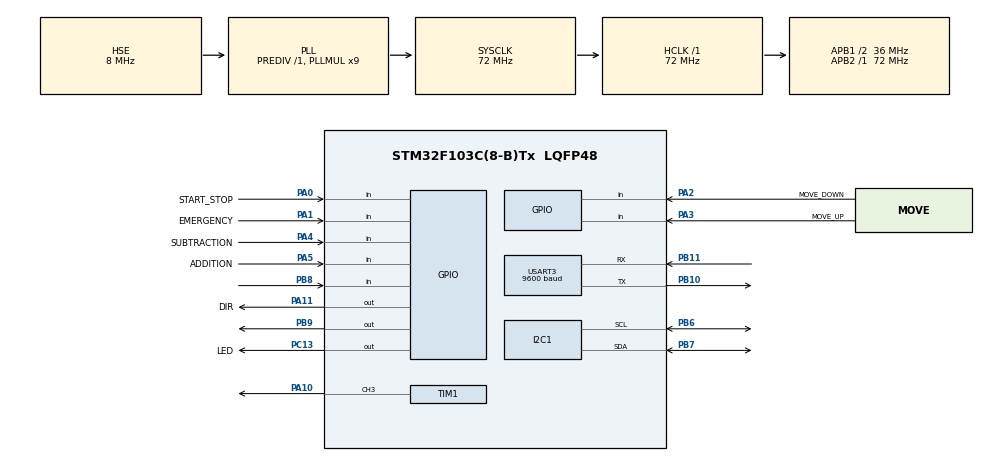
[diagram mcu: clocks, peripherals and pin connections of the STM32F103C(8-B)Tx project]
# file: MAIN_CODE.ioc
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I2C1.I2C_Mode=I2C_Fast
Mcu.Family=STM32F1
Mcu.Name=STM32F103C(8-B)Tx
Mcu.Package=LQFP48
NVIC.PriorityGroup=NVIC_PRIORITYGROUP_4
NVIC.TIM4_IRQn=true\:0\:0\:false\:false\:true\:true\:true\:true
PA0-WKUP.GPIO_Label=START_STOP
PA0-WKUP.GPIO_PuPd=GPIO_PULLUP
PA0-WKUP.Signal=GPIO_Input
PA1.GPIO_Label=EMERGENCY
PA1.GPIO_PuPd=GPIO_PULLUP
PA1.Signal=GPIO_Input
PA10.Signal=S_TIM1_CH3
PA11.GPIO_Label=DIR
PA11.GPIO_PuPd=GPIO_PULLUP
PA11.Signal=GPIO_Output
PA13.Mode=Serial_Wire
PA13.Signal=SYS_JTMS-SWDIO
PA14.Mode=Serial_Wire
PA14.Signal=SYS_JTCK-SWCLK
PA2.GPIO_Label=MOVE_DOWN
PA2.GPIO_PuPd=GPIO_PULLUP
PA2.Signal=GPIO_Input
PA3.GPIO_Label=MOVE_UP
PA3.GPIO_PuPd=GPIO_PULLUP
PA3.Signal=GPIO_Input
PA4.GPIO_Label=SUBTRACTION
PA4.GPIO_PuPd=GPIO_PULLUP
PA4.Signal=GPIO_Input
PA5.GPIO_Label=ADDITION
PA5.GPIO_PuPd=GPIO_PULLUP
PA5.Signal=GPIO_Input
PB10.Mode=Asynchronous
PB10.Signal=USART3_TX
PB11.Mode=Asynchronous
PB11.Signal=USART3_RX
PB6.Mode=I2C
PB6.Signal=I2C1_SCL
PB7.Mode=I2C
PB7.Signal=I2C1_SDA
PB8.GPIO_Mode=GPIO_MODE_INPUT
PB8.Signal=GPIO_Input
PB9.Signal=GPIO_Output
PC13-TAMPER-RTC.GPIO_Label=LED
PC13-TAMPER-RTC.GPIO_PuPd=GPIO_PULLDOWN
PC13-TAMPER-RTC.PinState=GPIO_PIN_SET
PC13-TAMPER-RTC.Signal=GPIO_Output
PD0-OSC_IN.Mode=HSE-External-Oscillator
PD0-OSC_IN.Signal=RCC_OSC_IN
PD1-OSC_OUT.Mode=HSE-External-Oscillator
PD1-OSC_OUT.Signal=RCC_OSC_OUT
ProjectManager.HeapSize=0x200
ProjectManager.StackSize=0x400
ProjectManager.TargetToolchain=STM32CubeIDE
RCC.AHBFreq_Value=72000000
RCC.APB1CLKDivider=RCC_HCLK_DIV2
RCC.APB1Freq_Value=36000000
RCC.APB1TimFreq_Value=72000000
RCC.APB2Freq_Value=72000000
RCC.APB2TimFreq_Value=72000000
RCC.HCLKFreq_Value=72000000
RCC.PLLMUL=RCC_PLL_MUL9
RCC.PLLSourceVirtual=RCC_PLLSOURCE_HSE
RCC.SYSCLKFreq_VALUE=72000000
RCC.SYSCLKSource=RCC_SYSCLKSOURCE_PLLCLK
RCC.USBFreq_Value=72000000
SH.S_TIM1_CH3.0=TIM1_CH3,PWM Generation3 CH3
TIM1.Channel-PWM\ Generation3\ CH3=TIM_CHANNEL_3
TIM1.Period=999
TIM1.Prescaler=71
TIM2.Prescaler=71
TIM4.AutoReloadPreload=TIM_AUTORELOAD_PRELOAD_ENABLE
TIM4.Period=399
TIM4.Prescaler=17999
USART3.BaudRate=9600
USART3.VirtualMode=VM_ASYNC
VP_TIM1_VS_ClockSourceINT.Mode=Internal
VP_TIM2_VS_ClockSourceINT.Mode=Internal
VP_TIM4_VS_ClockSourceINT.Mode=Internal
board=custom

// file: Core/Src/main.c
/* USER CODE BEGIN Header */
/**
  ******************************************************************************
  * @file           : main.c
  * @brief          : Main program body
  ******************************************************************************
  * @attention
  *
  * Copyright (c) 2024 STMicroelectronics.
  * All rights reserved.
  *
  * This software is licensed under terms that can be found in the LICENSE file
  * in the root directory of this software component.
  * If no LICENSE file comes with this software, it is provided AS-IS.
  *
  ******************************************************************************
  */
/* USER CODE END Header */
#include "main.h"

/* USER CODE BEGIN Includes */
#include "string.h"
#include "stdio.h" // For sprintf
#include "fonts.h"
#include "ssd1306.h"
/* USER CODE END Includes */

/* USER CODE BEGIN PD */
#define DT_PIN GPIO_PIN_8
#define DT_PORT GPIOB
#define SCK_PIN GPIO_PIN_9
#define SCK_PORT GPIOB
/* USER CODE END PD */

I2C_HandleTypeDef hi2c1;

TIM_HandleTypeDef htim1;
TIM_HandleTypeDef htim2;
TIM_HandleTypeDef htim4;

UART_HandleTypeDef huart3;

/* USER CODE BEGIN PV */
int i = 11; //points axit y in lcd oled

//state of the system
uint8_t counter = 0; //variable for system
uint8_t status = 0; //variable for start/stop
uint8_t limitswitch = 0; //variable for run mode

//set up variables
uint8_t set_mode = 1;
uint8_t set_times = 1;
uint8_t set_step = 1;
uint8_t set_lengh = 1;

//variable when system is run
uint8_t times = 0;
uint8_t lengh = 0;

//variables for loadcell
uint32_t tare = 8418394U; //error loadcell
float knownOriginal = 5830000U;  // (in milli gram) real weight 5830000
float knownHX711 = 859763U;
float knownOriginalForce = 4614;
int weight;
int offset = 0U;
int force = 0U;
/* USER CODE END PV */

void SystemClock_Config(void);
static void MX_GPIO_Init(void);
static void MX_I2C1_Init(void);
static void MX_TIM1_Init(void);
static void MX_TIM2_Init(void);
static void MX_TIM4_Init(void);
static void MX_USART3_UART_Init(void);

/* USER CODE BEGIN 0 */
void microDelay(uint16_t time)
{
	__HAL_TIM_SET_COUNTER(&htim2, 0);
	while (__HAL_TIM_GET_COUNTER(&htim2) < time);
}

void HAL_TIM_PeriodElapsedCallback(TIM_HandleTypeDef *htim)
{
  /* Prevent unused argument(s) compilation warning */
  UNUSED(htim);

  /* NOTE : This function should not be modified, when the callback is needed,
            the HAL_TIM_PeriodElapsedCallback could be implemented in the user file
   */
  if (HAL_GPIO_ReadPin(START_STOP_GPIO_Port, START_STOP_Pin) == 0) {
  	  if (HAL_GPIO_ReadPin(START_STOP_GPIO_Port, START_STOP_Pin) == 0){
  		  if (counter < 9){
  			  counter++;
  		  }
  		  else{
  			  status = 1;
  			  if (status == 1){
  				  SSD1306_GotoXY (56, 11);
  				  SSD1306_Puts ("START    ", &Font_7x10, 1);
  				  SSD1306_UpdateScreen();
  			  }
  		  }
  	  }
  	  while (HAL_GPIO_ReadPin(START_STOP_GPIO_Port, START_STOP_Pin) == 0){};
    }
    else if (HAL_GPIO_ReadPin(EMERGENCY_GPIO_Port, EMERGENCY_Pin) == 0) {
    	if (HAL_GPIO_ReadPin(EMERGENCY_GPIO_Port, EMERGENCY_Pin) == 0){
    		if (counter > 7) {
  	 			status = 2;
  	 			SSD1306_GotoXY (56, 11);
  	 			SSD1306_Puts ("E_STOP     ", &Font_7x10, 1);
  	 			SSD1306_UpdateScreen();
  	 		}
  	 	}
  	 	while (HAL_GPIO_ReadPin(EMERGENCY_GPIO_Port, EMERGENCY_Pin) == 0){};
    }
}

int32_t getHX711(void)
{
  uint32_t data = 0;
  uint32_t startTime = HAL_GetTick();
  while(HAL_GPIO_ReadPin(DT_PORT, DT_PIN) == GPIO_PIN_SET)
  {
    if(HAL_GetTick() - startTime > 200)
      return 0;
  }
  for(int8_t len=0; len<24 ; len++)
  {
    HAL_GPIO_WritePin(SCK_PORT, SCK_PIN, GPIO_PIN_SET);
    microDelay(1);
    data = data << 1;
    HAL_GPIO_WritePin(SCK_PORT, SCK_PIN, GPIO_PIN_RESET);
    microDelay(1);
    if(HAL_GPIO_ReadPin(DT_PORT, DT_PIN) == GPIO_PIN_SET)
      data ++;
  }
  data = data ^ 0x800000;
  HAL_GPIO_WritePin(SCK_PORT, SCK_PIN, GPIO_PIN_SET);
  microDelay(1);
  HAL_GPIO_WritePin(SCK_PORT, SCK_PIN, GPIO_PIN_RESET);
  microDelay(1);
  return data;
}

int weigh()
{
  int32_t  total = 0;
  int32_t  samples = 30;
  int milligram;
  float coefficient;
  for(uint16_t i = 0 ; i < samples ; i++)
  {
      total += getHX711();
  }
  int32_t average = (int32_t)(total / samples);
  coefficient = knownOriginal / knownHX711;
  milligram = (int)(average-tare)*coefficient;
  return milligram;
}

int getForce(){
	int32_t ratio;
	float Force;
	float ConfigForce;
	for (int y = 0; y < 3; y++){
		weight = weigh() - offset; // in milligram
	}
	Force = weight / 1000;
	ratio = (Force*100)/knownOriginalForce;
	ConfigForce = Force + ratio*offset/100000;
	return ConfigForce;
}

void send_values(uint32_t value1, uint32_t value2, uint32_t value3) {
    char buffer[25]; // Buffer to hold the formatted string

    // Format the string: "value1,value2,value3\n"
    sprintf(buffer, "%lu,%lu,%lu\n", value1, value2, value3);

    // Transmit the string over USART3
    HAL_UART_Transmit(&huart3, (uint8_t*)buffer, strlen(buffer), 15);
}

/* USER CODE END 0 */

int main(void)
{

  /* MCU Configuration--------------------------------------------------------*/

  /* Reset of all peripherals, Initializes the Flash interface and the Systick. */
  HAL_Init();

  /* Configure the system clock */
  SystemClock_Config();

  /* Initialize all configured peripherals */
  MX_GPIO_Init();
  MX_I2C1_Init();
  MX_TIM1_Init();
  MX_TIM2_Init();
  MX_TIM4_Init();
  MX_USART3_UART_Init();
  /* USER CODE BEGIN 2 */

  HAL_TIM_PWM_Start(&htim1, TIM_CHANNEL_3);
  HAL_TIM_Base_Start(&htim2);
  HAL_TIM_Base_Start_IT(&htim4);

  SSD1306_Init();

  char sum[5];

  HAL_Delay (10);

  SSD1306_GotoXY (0,0);
  SSD1306_Puts ("PROGRAMMED", &Font_7x10, 1);
  SSD1306_GotoXY (11, 20);
  SSD1306_Puts ("BY TRIET NGUYEN", &Font_7x10, 1);
  SSD1306_GotoXY (0, 40);
  SSD1306_Puts ("STARTING.......", &Font_7x10, 1);
  SSD1306_UpdateScreen();
  SSD1306_ScrollRight(0,7);
  HAL_Delay(3000);
  SSD1306_ScrollLeft(0,7);
  HAL_Delay(3000);
  SSD1306_Stopscroll();
  SSD1306_Clear();
  HAL_Delay(10);
  counter = 1;
  /* USER CODE END 2 */

  /* Infinite loop */
  /* USER CODE BEGIN WHILE */
  while (1)
  {
	  switch (counter)
	  {
	  	  case 1:
	  		  SSD1306_Clear();
	  		  HAL_Delay(10);
	  		  counter++;
	  		  break;
	  	  case 2:
	  		  SSD1306_GotoXY (11,0);
	  		  SSD1306_Puts ("TESTING MACHINE", &Font_7x10, 1);

	  		  SSD1306_GotoXY (0, 15);
	  		  SSD1306_Puts ("SETINGS GRIP BLOCK", &Font_7x10, 1);
	  		  SSD1306_GotoXY (0, 27);
	  		  SSD1306_Puts ("CLICK MOVE UP", &Font_7x10, 1);
	  		  SSD1306_GotoXY (0, 39);
	  		  SSD1306_Puts (" OR CLICK MOVE DW ", &Font_7x10, 1);
	  		  SSD1306_GotoXY (0, 51);
	  		  SSD1306_Puts ("START TO CONTINUE ", &Font_7x10, 1);

	  		  SSD1306_UpdateScreen();
	  		  counter++;
	  		  break;
	  	  case 3:
	  		  if (HAL_GPIO_ReadPin(MOVE_UP_GPIO_Port, MOVE_UP_Pin) == 0) {
	  			  HAL_GPIO_WritePin(DIR_GPIO_Port, DIR_Pin, 0);
	  			  while (HAL_GPIO_ReadPin(MOVE_UP_GPIO_Port, MOVE_UP_Pin) == 0){
	  				  __HAL_TIM_SET_COMPARE(&htim1, TIM_CHANNEL_3, 499);
	  			  }
	  			  __HAL_TIM_SET_COMPARE(&htim1, TIM_CHANNEL_3, 0);
	  		  }
	  		  if (HAL_GPIO_ReadPin(MOVE_DOWN_GPIO_Port, MOVE_DOWN_Pin) == 0) {
	  			  HAL_GPIO_WritePin(DIR_GPIO_Port, DIR_Pin, 1);
	  			  while (HAL_GPIO_ReadPin(MOVE_DOWN_GPIO_Port, MOVE_DOWN_Pin) == 0){
	  				  __HAL_TIM_SET_COMPARE(&htim1, TIM_CHANNEL_3, 499);
	  			  }
	  			  __HAL_TIM_SET_COMPARE(&htim1, TIM_CHANNEL_3, 0);
	  		  }

	  		  break;
	  	  case 4:
	  		  SSD1306_Clear();
	  		  HAL_Delay(10);
	  		  counter++;
	  		  break;
	  	  case 5:
	  		  SSD1306_GotoXY (0, 15);
	  		  SSD1306_Puts ("SETINGS OFFSET", &Font_7x10, 1);
	  		  SSD1306_GotoXY (0, 27);
	  		  SSD1306_Puts ("WAITING ......", &Font_7x10, 1);
	  		  SSD1306_UpdateScreen();
	  		  for (int z; z < 3; z++) {
	  			offset = weigh();

	  		  }
	  		  SSD1306_Clear();
	  		  HAL_Delay(10);
	  		  SSD1306_Clear();
	  		  counter++;
	  		  break;

	  	  case 6:
	  		  SSD1306_Clear();
	  		  HAL_Delay(10);

	  		  SSD1306_GotoXY (11,0);
	  		  SSD1306_Puts ("TESTING MACHINE", &Font_7x10, 1);

	  		  SSD1306_GotoXY (0, 11);
	  		  SSD1306_Puts (">MODE :           ", &Font_7x10, 1);
	  		  SSD1306_GotoXY (0, 22);
	  		  SSD1306_Puts (" TIMES:           ", &Font_7x10, 1);
	  		  SSD1306_GotoXY (0, 33);
	  		  SSD1306_Puts (" STEP :           ", &Font_7x10, 1);
	  		  SSD1306_GotoXY (0, 44);
	  		  SSD1306_Puts (" LEN  :           ", &Font_7x10, 1);

	  		  SSD1306_UpdateScreen();

	  		  HAL_GPIO_WritePin(DIR_GPIO_Port, DIR_Pin, 0);
	  		  counter++;
	  		  break;
	  	  case 7:
	  		  if (set_mode == 1){
	  			  SSD1306_GotoXY (56, 11);
	  			  SSD1306_Puts ("PULL     ", &Font_7x10, 1);
	  		  }
	  		  else if (set_mode == 2){
	  			  SSD1306_GotoXY (56, 11);
	  			  SSD1306_Puts ("PULL & RE", &Font_7x10, 1);
	  		  }
	  		  itoa(set_step, sum, 10);
	  		  SSD1306_GotoXY (56, 33);
	  		  SSD1306_Puts (sum, &Font_7x10, 1);
	  		  itoa(set_times, sum, 10);
	  		  SSD1306_GotoXY (56, 22);
	  		  SSD1306_Puts (sum, &Font_7x10, 1);
	  		  itoa(set_lengh, sum, 10);
	  		  SSD1306_GotoXY (56, 44);
	  		  SSD1306_Puts (sum, &Font_7x10, 1);
	  		  SSD1306_UpdateScreen();
	  		  if (HAL_GPIO_ReadPin(MOVE_DOWN_GPIO_Port, MOVE_DOWN_Pin) == 0) {
	  			  HAL_Delay(20);
	  			  if (HAL_GPIO_ReadPin(MOVE_DOWN_GPIO_Port, MOVE_DOWN_Pin) == 0){
	  				  SSD1306_GotoXY (0, i);
	  				  SSD1306_Puts (" ", &Font_7x10, 1);
	  				  i = i + 11;
	  				  if (i > 44)	i = 11;
	  				  SSD1306_GotoXY (0, i);
	  				  SSD1306_Puts (">", &Font_7x10, 1);
	  				  SSD1306_UpdateScreen();
	  			  }
	  			  while (HAL_GPIO_ReadPin(MOVE_DOWN_GPIO_Port, MOVE_DOWN_Pin) == 0){};
	  		  }
	  		  else if (HAL_GPIO_ReadPin(MOVE_UP_GPIO_Port, MOVE_UP_Pin) == 0) {
	  			  HAL_Delay(20);
	  			  if (HAL_GPIO_ReadPin(MOVE_UP_GPIO_Port, MOVE_UP_Pin) == 0){

	  				  SSD1306_GotoXY (0, i);
	  				  SSD1306_Puts (" ", &Font_7x10, 1);
	  				  i = i - 11;
	  				  if (i < 11)	i = 44;
	  				  SSD1306_GotoXY (0, i);
	  				  SSD1306_Puts (">", &Font_7x10, 1);
	  				  SSD1306_UpdateScreen();
	  			  }
	  			  while (HAL_GPIO_ReadPin(MOVE_UP_GPIO_Port, MOVE_UP_Pin) == 0){};
	  		  }
	  		  else if (HAL_GPIO_ReadPin(ADDITION_GPIO_Port, ADDITION_Pin) == 0) {
	  			  HAL_Delay(20);
	  			  if (HAL_GPIO_ReadPin(ADDITION_GPIO_Port, ADDITION_Pin) == 0){
	  				  if (i == 11){
	  					  set_mode++;
	  					  if (set_mode > 2) set_mode = 2;
	  				  }
	  				  else if (i == 33){
	  					  set_step++;
	  					  if (set_step > 2) set_step = 2;
	  				  }
	  			  }
	  			  while (HAL_GPIO_ReadPin(ADDITION_GPIO_Port, ADDITION_Pin) == 0)
	  			  {
	  				  if ((i == 22) && (set_mode == 2)){
	  					  set_times++;
	  					  SSD1306_GotoXY (56, 22);
	  					  SSD1306_Puts ("      ", &Font_7x10, 1);
	  					  itoa(set_times, sum, 10);
	  					  SSD1306_GotoXY (56, 22);
	  					  SSD1306_Puts (sum, &Font_7x10, 1);
	  					  SSD1306_UpdateScreen();
	  					  HAL_Delay(200);
	  				  }
	  				  else if (i == 44){
	  					  set_lengh++;
	  					  if (set_lengh > 100) set_lengh = 100;
	  					  SSD1306_GotoXY (56, 44);
	  					  SSD1306_Puts ("      ", &Font_7x10, 1);
	  					  itoa(set_lengh, sum, 10);
	  					  SSD1306_GotoXY (56, 44);
	  					  SSD1306_Puts (sum, &Font_7x10, 1);
	  					  SSD1306_UpdateScreen();
	  					  HAL_Delay(200);
	  				  }
	  			  };
	  		  }
	  		  else if (HAL_GPIO_ReadPin(SUBTRACTION_GPIO_Port, SUBTRACTION_Pin) == 0) {
	  			  HAL_Delay(20);
	  			  if (HAL_GPIO_ReadPin(SUBTRACTION_GPIO_Port, SUBTRACTION_Pin) == 0){
	  				  if (i == 11){
	  					  set_mode--;
	  					  if (set_mode < 1) set_mode = 1;
	  				  }
	  				  else if (i == 33){
	  					  set_step--;
	  					  if (set_step < 1) set_step = 1;
	  				  }
	  			  }
	  			  while (HAL_GPIO_ReadPin(SUBTRACTION_GPIO_Port, SUBTRACTION_Pin) == 0)
	  			  {
	  				  if ((i == 22) && (set_mode == 2)){
	  					  set_times--;
	  					  if (set_times < 1) set_times = 1;
	  					  SSD1306_GotoXY (56, 22);
	  					  SSD1306_Puts ("      ", &Font_7x10, 1);
	  					  itoa(set_times, sum, 10);
	  					  SSD1306_GotoXY (56, 22);
	  					  SSD1306_Puts (sum, &Font_7x10, 1);
	  					  SSD1306_UpdateScreen();
	  					  HAL_Delay(200);
	  				  }
	  				  else if (i == 44){
	  					  set_lengh--;
	  					  if (set_lengh < 1) set_lengh = 1;
	  					  SSD1306_GotoXY (56,44);
	  					  SSD1306_Puts ("      ", &Font_7x10, 1);
	  					  itoa(set_times, sum, 10);
	  					  SSD1306_GotoXY (56, 44);
	  					  SSD1306_Puts (sum, &Font_7x10, 1);
	  					  SSD1306_UpdateScreen();
	  					  HAL_Delay(200);
	  				  }
	  			  };
	  		  }
	  		  break;
	  	  case 8:

	  		  SSD1306_Clear();
	  		  HAL_Delay(10);
	  		  counter++;
	  		  break;
	  	  case 9:

	  		  SSD1306_Clear();
	  		  HAL_Delay(10);
	  		  SSD1306_GotoXY (11,0);
	  		  SSD1306_Puts ("TESTING MACHINE", &Font_7x10, 1);
	  		  SSD1306_GotoXY (0, 11);
	  		  SSD1306_Puts ("STATUS:           ", &Font_7x10, 1);
	  		  SSD1306_GotoXY (0, 22);
	  		  SSD1306_Puts ("FORCE :           ", &Font_7x10, 1);
	  		  SSD1306_GotoXY (0, 33);
	  		  SSD1306_Puts ("LEN   :           ", &Font_7x10, 1);
	  		  SSD1306_GotoXY (0, 44);
	  		  SSD1306_Puts ("TIMES :           ", &Font_7x10, 1);
	  		  SSD1306_UpdateScreen();
	  		  counter++;
	  		  break;

	  	  case 10:
	  		  if ((status == 1) && (set_mode == 1))
	  		  {
	  			  HAL_GPIO_WritePin(DIR_GPIO_Port, DIR_Pin, 1);
	  			  if (set_step == 1)
	  			  {
	  				  __HAL_TIM_SET_COMPARE(&htim1, TIM_CHANNEL_3, 499);
	  				  HAL_Delay(1370);
	  				  __HAL_TIM_SET_COMPARE(&htim1, TIM_CHANNEL_3, 0);
	  				  lengh++;
	  			  }
	  			  else
	  			  {
	  				  __HAL_TIM_SET_COMPARE(&htim1, TIM_CHANNEL_3, 499);
	  				  HAL_Delay(2740);
	  				  __HAL_TIM_SET_COMPARE(&htim1, TIM_CHANNEL_3, 0);
	  				  lengh = lengh + 2;
	  			  }
	  			  force = getForce();
		  		  if (status != 0) {
		  			  send_values(force, lengh, times);
		  		  }
	  			  if (lengh >= set_lengh)	{
	  				  status = 0;
	  				  times = 1;
	  			  }
	  		  }
	  		  else if ((status == 1) && (set_mode == 2))
	  		  {
	  			  if (limitswitch == 0)
	  			  {
					  HAL_GPIO_WritePin(DIR_GPIO_Port, DIR_Pin, 1);
					  if (set_step == 1) {
						  __HAL_TIM_SET_COMPARE(&htim1, TIM_CHANNEL_3, 499);
						  HAL_Delay(1370);
						  __HAL_TIM_SET_COMPARE(&htim1, TIM_CHANNEL_3, 0);
						  lengh++;
					  }
					  else {
						  __HAL_TIM_SET_COMPARE(&htim1, TIM_CHANNEL_3, 499);
						  HAL_Delay(2740);
						  __HAL_TIM_SET_COMPARE(&htim1, TIM_CHANNEL_3, 0);
						  lengh = lengh + 2;
					  }
					  force = getForce();
			  		  if (status != 0) {
			  			  send_values(force, lengh, times);
			  		  }
					  if (lengh == set_lengh){
						  limitswitch = 1;
					  }
	  			  }
	  			  else if (limitswitch == 1)
	  			  {
	  				  HAL_GPIO_WritePin(DIR_GPIO_Port, DIR_Pin, 0);
	  				  if (set_step == 1) {
	  					  __HAL_TIM_SET_COMPARE(&htim1, TIM_CHANNEL_3, 499);
	  					  HAL_Delay(1370);
	  					  __HAL_TIM_SET_COMPARE(&htim1, TIM_CHANNEL_3, 0);
	  					  lengh--;
	  				  }
	  				  else {
	  					  __HAL_TIM_SET_COMPARE(&htim1, TIM_CHANNEL_3, 499);
	  					  HAL_Delay(2740);
	  					  __HAL_TIM_SET_COMPARE(&htim1, TIM_CHANNEL_3, 0);
	  					  lengh = lengh - 2;
	  				  }
	  				  force = getForce();
	  		  		  if (status != 0) {
	  		  			  send_values(force, lengh, times);
	  		  		  }
	  				  if (lengh == 0){
	  					  times++;
	  					  limitswitch = 0;
	  					  if (times == set_times) status = 0;
	  				  }
	  			  }
	  		  }

	  		  counter++;
	  		  break;

	  	  case 11:

	  		  if (status == 0){
	  			  SSD1306_GotoXY (56, 11);
	  			  SSD1306_Puts ("STOP     ", &Font_7x10, 1);
	  		  }
	  		  SSD1306_GotoXY (56, 22);
	  		  SSD1306_Puts ("      ", &Font_7x10, 1);
	  		  itoa(force, sum, 10);
	  		  SSD1306_GotoXY (56, 22);
	  		  SSD1306_Puts (sum, &Font_7x10, 1);
	  		  SSD1306_GotoXY (56, 33);
	  		  SSD1306_Puts ("      ", &Font_7x10, 1);
	  		  itoa(lengh, sum, 10);
	  		  SSD1306_GotoXY (56, 33);
	  		  SSD1306_Puts (sum, &Font_7x10, 1);
	  		  SSD1306_GotoXY (56, 44);
	  		  SSD1306_Puts ("      ", &Font_7x10, 1);
	  		  itoa(times, sum, 10);
	  		  SSD1306_GotoXY (56, 44);
	  		  SSD1306_Puts (sum, &Font_7x10, 1);
	  		  SSD1306_UpdateScreen();
	  		  counter--;
	  		  break;
	  	  }

    /* USER CODE END WHILE */

  }
}

void SystemClock_Config(void)
{
  RCC_OscInitTypeDef RCC_OscInitStruct = {0};
  RCC_ClkInitTypeDef RCC_ClkInitStruct = {0};

  /** Initializes the RCC Oscillators according to the specified parameters
  * in the RCC_OscInitTypeDef structure.
  */
  RCC_OscInitStruct.OscillatorType = RCC_OSCILLATORTYPE_HSE;
  RCC_OscInitStruct.HSEState = RCC_HSE_ON;
  RCC_OscInitStruct.HSEPredivValue = RCC_HSE_PREDIV_DIV1;
  RCC_OscInitStruct.HSIState = RCC_HSI_ON;
  RCC_OscInitStruct.PLL.PLLState = RCC_PLL_ON;
  RCC_OscInitStruct.PLL.PLLSource = RCC_PLLSOURCE_HSE;
  RCC_OscInitStruct.PLL.PLLMUL = RCC_PLL_MUL9;
  if (HAL_RCC_OscConfig(&RCC_OscInitStruct) != HAL_OK)
  {
    Error_Handler();
  }

  /** Initializes the CPU, AHB and APB buses clocks
  */
  RCC_ClkInitStruct.ClockType = RCC_CLOCKTYPE_HCLK|RCC_CLOCKTYPE_SYSCLK
                              |RCC_CLOCKTYPE_PCLK1|RCC_CLOCKTYPE_PCLK2;
  RCC_ClkInitStruct.SYSCLKSource = RCC_SYSCLKSOURCE_PLLCLK;
  RCC_ClkInitStruct.AHBCLKDivider = RCC_SYSCLK_DIV1;
  RCC_ClkInitStruct.APB1CLKDivider = RCC_HCLK_DIV2;
  RCC_ClkInitStruct.APB2CLKDivider = RCC_HCLK_DIV1;

  if (HAL_RCC_ClockConfig(&RCC_ClkInitStruct, FLASH_LATENCY_2) != HAL_OK)
  {
    Error_Handler();
  }
}

static void MX_I2C1_Init(void)
{

  hi2c1.Instance = I2C1;
  hi2c1.Init.ClockSpeed = 400000;
  hi2c1.Init.DutyCycle = I2C_DUTYCYCLE_2;
  hi2c1.Init.OwnAddress1 = 0;
  hi2c1.Init.AddressingMode = I2C_ADDRESSINGMODE_7BIT;
  hi2c1.Init.DualAddressMode = I2C_DUALADDRESS_DISABLE;
  hi2c1.Init.OwnAddress2 = 0;
  hi2c1.Init.GeneralCallMode = I2C_GENERALCALL_DISABLE;
  hi2c1.Init.NoStretchMode = I2C_NOSTRETCH_DISABLE;
  if (HAL_I2C_Init(&hi2c1) != HAL_OK)
  {
    Error_Handler();
  }

}

static void MX_TIM1_Init(void)
{

  TIM_ClockConfigTypeDef sClockSourceConfig = {0};
  TIM_MasterConfigTypeDef sMasterConfig = {0};
  TIM_OC_InitTypeDef sConfigOC = {0};
  TIM_BreakDeadTimeConfigTypeDef sBreakDeadTimeConfig = {0};

  htim1.Instance = TIM1;
  htim1.Init.Prescaler = 71;
  htim1.Init.CounterMode = TIM_COUNTERMODE_UP;
  htim1.Init.Period = 999;
  htim1.Init.ClockDivision = TIM_CLOCKDIVISION_DIV1;
  htim1.Init.RepetitionCounter = 0;
  htim1.Init.AutoReloadPreload = TIM_AUTORELOAD_PRELOAD_DISABLE;
  if (HAL_TIM_Base_Init(&htim1) != HAL_OK)
  {
    Error_Handler();
  }
  sClockSourceConfig.ClockSource = TIM_CLOCKSOURCE_INTERNAL;
  if (HAL_TIM_ConfigClockSource(&htim1, &sClockSourceConfig) != HAL_OK)
  {
    Error_Handler();
  }
  if (HAL_TIM_PWM_Init(&htim1) != HAL_OK)
  {
    Error_Handler();
  }
  sMasterConfig.MasterOutputTrigger = TIM_TRGO_RESET;
  sMasterConfig.MasterSlaveMode = TIM_MASTERSLAVEMODE_DISABLE;
  if (HAL_TIMEx_MasterConfigSynchronization(&htim1, &sMasterConfig) != HAL_OK)
  {
    Error_Handler();
  }
  sConfigOC.OCMode = TIM_OCMODE_PWM1;
  sConfigOC.Pulse = 0;
  sConfigOC.OCPolarity = TIM_OCPOLARITY_HIGH;
  sConfigOC.OCNPolarity = TIM_OCNPOLARITY_HIGH;
  sConfigOC.OCFastMode = TIM_OCFAST_DISABLE;
  sConfigOC.OCIdleState = TIM_OCIDLESTATE_RESET;
  sConfigOC.OCNIdleState = TIM_OCNIDLESTATE_RESET;
  if (HAL_TIM_PWM_ConfigChannel(&htim1, &sConfigOC, TIM_CHANNEL_3) != HAL_OK)
  {
    Error_Handler();
  }
  sBreakDeadTimeConfig.OffStateRunMode = TIM_OSSR_DISABLE;
  sBreakDeadTimeConfig.OffStateIDLEMode = TIM_OSSI_DISABLE;
  sBreakDeadTimeConfig.LockLevel = TIM_LOCKLEVEL_OFF;
  sBreakDeadTimeConfig.DeadTime = 0;
  sBreakDeadTimeConfig.BreakState = TIM_BREAK_DISABLE;
  sBreakDeadTimeConfig.BreakPolarity = TIM_BREAKPOLARITY_HIGH;
  sBreakDeadTimeConfig.AutomaticOutput = TIM_AUTOMATICOUTPUT_DISABLE;
  if (HAL_TIMEx_ConfigBreakDeadTime(&htim1, &sBreakDeadTimeConfig) != HAL_OK)
  {
    Error_Handler();
  }
  HAL_TIM_MspPostInit(&htim1);

}

static void MX_TIM2_Init(void)
{

  TIM_ClockConfigTypeDef sClockSourceConfig = {0};
  TIM_MasterConfigTypeDef sMasterConfig = {0};

  htim2.Instance = TIM2;
  htim2.Init.Prescaler = 71;
  htim2.Init.CounterMode = TIM_COUNTERMODE_UP;
  htim2.Init.Period = 65535;
  htim2.Init.ClockDivision = TIM_CLOCKDIVISION_DIV1;
  htim2.Init.AutoReloadPreload = TIM_AUTORELOAD_PRELOAD_DISABLE;
  if (HAL_TIM_Base_Init(&htim2) != HAL_OK)
  {
    Error_Handler();
  }
  sClockSourceConfig.ClockSource = TIM_CLOCKSOURCE_INTERNAL;
  if (HAL_TIM_ConfigClockSource(&htim2, &sClockSourceConfig) != HAL_OK)
  {
    Error_Handler();
  }
  sMasterConfig.MasterOutputTrigger = TIM_TRGO_RESET;
  sMasterConfig.MasterSlaveMode = TIM_MASTERSLAVEMODE_DISABLE;
  if (HAL_TIMEx_MasterConfigSynchronization(&htim2, &sMasterConfig) != HAL_OK)
  {
    Error_Handler();
  }

}

static void MX_TIM4_Init(void)
{

  TIM_ClockConfigTypeDef sClockSourceConfig = {0};
  TIM_MasterConfigTypeDef sMasterConfig = {0};

  htim4.Instance = TIM4;
  htim4.Init.Prescaler = 17999;
  htim4.Init.CounterMode = TIM_COUNTERMODE_UP;
  htim4.Init.Period = 399;
  htim4.Init.ClockDivision = TIM_CLOCKDIVISION_DIV1;
  htim4.Init.AutoReloadPreload = TIM_AUTORELOAD_PRELOAD_ENABLE;
  if (HAL_TIM_Base_Init(&htim4) != HAL_OK)
  {
    Error_Handler();
  }
  sClockSourceConfig.ClockSource = TIM_CLOCKSOURCE_INTERNAL;
  if (HAL_TIM_ConfigClockSource(&htim4, &sClockSourceConfig) != HAL_OK)
  {
    Error_Handler();
  }
  sMasterConfig.MasterOutputTrigger = TIM_TRGO_RESET;
  sMasterConfig.MasterSlaveMode = TIM_MASTERSLAVEMODE_DISABLE;
  if (HAL_TIMEx_MasterConfigSynchronization(&htim4, &sMasterConfig) != HAL_OK)
  {
    Error_Handler();
  }

}

static void MX_USART3_UART_Init(void)
{

  huart3.Instance = USART3;
  huart3.Init.BaudRate = 9600;
  huart3.Init.WordLength = UART_WORDLENGTH_8B;
  huart3.Init.StopBits = UART_STOPBITS_1;
  huart3.Init.Parity = UART_PARITY_NONE;
  huart3.Init.Mode = UART_MODE_TX_RX;
  huart3.Init.HwFlowCtl = UART_HWCONTROL_NONE;
  huart3.Init.OverSampling = UART_OVERSAMPLING_16;
  if (HAL_UART_Init(&huart3) != HAL_OK)
  {
    Error_Handler();
  }

}

static void MX_GPIO_Init(void)
{
  GPIO_InitTypeDef GPIO_InitStruct = {0};

  /* GPIO Ports Clock Enable */
  __HAL_RCC_GPIOC_CLK_ENABLE();
  __HAL_RCC_GPIOD_CLK_ENABLE();
  __HAL_RCC_GPIOA_CLK_ENABLE();
  __HAL_RCC_GPIOB_CLK_ENABLE();

  /*Configure GPIO pin Output Level */
  HAL_GPIO_WritePin(LED_GPIO_Port, LED_Pin, GPIO_PIN_SET);

  /*Configure GPIO pin Output Level */
  HAL_GPIO_WritePin(DIR_GPIO_Port, DIR_Pin, GPIO_PIN_RESET);

  /*Configure GPIO pin Output Level */
  HAL_GPIO_WritePin(GPIOB, GPIO_PIN_9, GPIO_PIN_RESET);

  /*Configure GPIO pin : LED_Pin */
  GPIO_InitStruct.Pin = LED_Pin;
  GPIO_InitStruct.Mode = GPIO_MODE_OUTPUT_PP;
  GPIO_InitStruct.Pull = GPIO_PULLDOWN;
  GPIO_InitStruct.Speed = GPIO_SPEED_FREQ_LOW;
  HAL_GPIO_Init(LED_GPIO_Port, &GPIO_InitStruct);

  /*Configure GPIO pins : START_STOP_Pin EMERGENCY_Pin MOVE_DOWN_Pin MOVE_UP_Pin
                           SUBTRACTION_Pin ADDITION_Pin */
  GPIO_InitStruct.Pin = START_STOP_Pin|EMERGENCY_Pin|MOVE_DOWN_Pin|MOVE_UP_Pin
                          |SUBTRACTION_Pin|ADDITION_Pin;
  GPIO_InitStruct.Mode = GPIO_MODE_INPUT;
  GPIO_InitStruct.Pull = GPIO_PULLUP;
  HAL_GPIO_Init(GPIOA, &GPIO_InitStruct);

  /*Configure GPIO pin : DIR_Pin */
  GPIO_InitStruct.Pin = DIR_Pin;
  GPIO_InitStruct.Mode = GPIO_MODE_OUTPUT_PP;
  GPIO_InitStruct.Pull = GPIO_PULLUP;
  GPIO_InitStruct.Speed = GPIO_SPEED_FREQ_LOW;
  HAL_GPIO_Init(DIR_GPIO_Port, &GPIO_InitStruct);

  /*Configure GPIO pin : PB8 */
  GPIO_InitStruct.Pin = GPIO_PIN_8;
  GPIO_InitStruct.Mode = GPIO_MODE_INPUT;
  GPIO_InitStruct.Pull = GPIO_NOPULL;
  HAL_GPIO_Init(GPIOB, &GPIO_InitStruct);

  /*Configure GPIO pin : PB9 */
  GPIO_InitStruct.Pin = GPIO_PIN_9;
  GPIO_InitStruct.Mode = GPIO_MODE_OUTPUT_PP;
  GPIO_InitStruct.Pull = GPIO_NOPULL;
  GPIO_InitStruct.Speed = GPIO_SPEED_FREQ_LOW;
  HAL_GPIO_Init(GPIOB, &GPIO_InitStruct);

}

void Error_Handler(void)
{
  __disable_irq();
  while (1)
  {
  }
}
